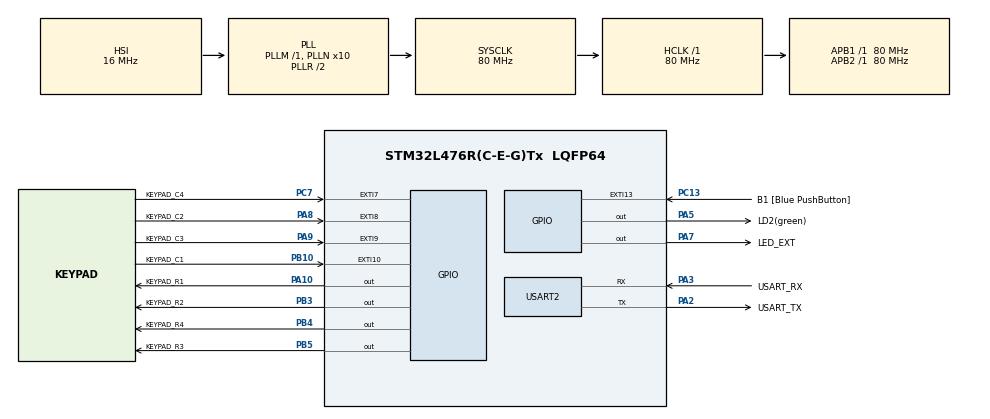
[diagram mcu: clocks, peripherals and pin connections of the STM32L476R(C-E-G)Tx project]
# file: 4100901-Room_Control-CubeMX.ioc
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Mcu.Family=STM32L4
Mcu.Name=STM32L476R(C-E-G)Tx
Mcu.Package=LQFP64
NVIC.EXTI15_10_IRQn=true\:0\:0\:false\:false\:true\:true\:true\:true
NVIC.EXTI9_5_IRQn=true\:0\:0\:false\:false\:true\:true\:true\:true
NVIC.PriorityGroup=NVIC_PRIORITYGROUP_4
NVIC.USART2_IRQn=true\:0\:0\:false\:false\:true\:true\:true\:true
PA10.GPIO_Label=KEYPAD_R1
PA10.Signal=GPIO_Output
PA13\ (JTMS-SWDIO).GPIO_Label=TMS
PA13\ (JTMS-SWDIO).Mode=Serial_Wire
PA13\ (JTMS-SWDIO).Signal=SYS_JTMS-SWDIO
PA14\ (JTCK-SWCLK).GPIO_Label=TCK
PA14\ (JTCK-SWCLK).Mode=Serial_Wire
PA14\ (JTCK-SWCLK).Signal=SYS_JTCK-SWCLK
PA2.GPIO_Label=USART_TX
PA2.GPIO_Mode=GPIO_MODE_AF_PP
PA2.GPIO_PuPd=GPIO_NOPULL
PA2.GPIO_Speed=GPIO_SPEED_FREQ_VERY_HIGH
PA2.Mode=Asynchronous
PA2.Signal=USART2_TX
PA3.GPIO_Label=USART_RX
PA3.GPIO_Mode=GPIO_MODE_AF_PP
PA3.GPIO_PuPd=GPIO_NOPULL
PA3.GPIO_Speed=GPIO_SPEED_FREQ_VERY_HIGH
PA3.Mode=Asynchronous
PA3.Signal=USART2_RX
PA5.GPIO_Label=LD2(green)
PA5.GPIO_ModeDefaultOutputPP=GPIO_MODE_OUTPUT_PP
PA5.GPIO_PuPd=GPIO_NOPULL
PA5.GPIO_Speed=GPIO_SPEED_FREQ_LOW
PA5.Signal=GPIO_Output
PA7.GPIO_Label=LED_EXT
PA7.Signal=GPIO_Output
PA8.GPIO_Label=KEYPAD_C2
PA8.GPIO_PuPd=GPIO_PULLUP
PA8.Signal=GPXTI8
PA9.GPIO_Label=KEYPAD_C3
PA9.GPIO_PuPd=GPIO_PULLUP
PA9.Signal=GPXTI9
PB10.GPIO_Label=KEYPAD_C1
PB10.GPIO_PuPd=GPIO_PULLUP
PB10.Signal=GPXTI10
PB3\ (JTDO-TRACESWO).GPIO_Label=KEYPAD_R2
PB3\ (JTDO-TRACESWO).Signal=GPIO_Output
PB4\ (NJTRST).GPIO_Label=KEYPAD_R4
PB4\ (NJTRST).Signal=GPIO_Output
PB5.GPIO_Label=KEYPAD_R3
PB5.Signal=GPIO_Output
PC13.GPIO_Label=B1 [Blue PushButton]
PC13.GPIO_ModeDefaultEXTI=GPIO_MODE_IT_FALLING
PC13.GPIO_PuPd=GPIO_NOPULL
PC13.Signal=GPXTI13
PC14-OSC32_IN\ (PC14).Mode=LSE-External-Oscillator
PC14-OSC32_IN\ (PC14).Signal=RCC_OSC32_IN
PC15-OSC32_OUT\ (PC15).Mode=LSE-External-Oscillator
PC15-OSC32_OUT\ (PC15).Signal=RCC_OSC32_OUT
PC7.GPIO_Label=KEYPAD_C4
PC7.GPIO_PuPd=GPIO_PULLUP
PC7.Signal=GPXTI7
PH0-OSC_IN\ (PH0).Signal=RCC_OSC_IN
PH1-OSC_OUT\ (PH1).Signal=RCC_OSC_OUT
ProjectManager.HeapSize=0x200
ProjectManager.StackSize=0x400
ProjectManager.TargetToolchain=CMake
RCC.ADCFreq_Value=64000000
RCC.AHBFreq_Value=80000000
RCC.APB1Freq_Value=80000000
RCC.APB1TimFreq_Value=80000000
RCC.APB2Freq_Value=80000000
RCC.APB2TimFreq_Value=80000000
RCC.CortexFreq_Value=80000000
RCC.HCLKFreq_Value=80000000
RCC.HSE_VALUE=8000000
RCC.HSI_VALUE=16000000
RCC.MSI_VALUE=4000000
RCC.PLLN=10
RCC.PLLSourceVirtual=RCC_PLLSOURCE_HSI
RCC.PREFETCH_ENABLE=1
RCC.SYSCLKFreq_VALUE=80000000
RCC.SYSCLKSource=RCC_SYSCLKSOURCE_PLLCLK
RCC.USBFreq_Value=64000000
RCC.VCOOutputFreq_Value=160000000
USART2.VirtualMode-Asynchronous=VM_ASYNC
board=NUCLEO-L476RG

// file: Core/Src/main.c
/* USER CODE BEGIN Header */                         // --- Sección de encabezado reservada para el usuario (comentarios/metadatos)
/**
  ******************************************************************************
  * @file           : main.c                        // Nombre del archivo fuente principal
  * @brief          : Main program body             // Breve descripción del contenido del archivo
  ******************************************************************************
  * @attention
  *
  * Copyright (c) 2025 STMicroelectronics.          // Derechos de autor
  * All rights reserved.
  *
  * This software is licensed under terms that can be found in the LICENSE file  // Referencia a la licencia del software
  * in the root directory of this software component.
  * If no LICENSE file comes with this software, it is provided AS-IS.           // Condición en ausencia de licencia
  *
  ******************************************************************************
  */
/* USER CODE END Header */                           // --- Fin de la sección de encabezado del usuario

#include "main.h"                                     // Definiciones/prototipos generados por CubeMX (HAL, pines, handlers)

/* USER CODE BEGIN Includes */
#include "led_driver.h"                               // Driver del LED (led_handle_t y funciones)
#include "ring_buffer.h"                              // Librería del buffer circular
#include "keypad_driver.h"                            // Driver de keypad 4x4
#include <stdio.h>                                    // printf/puts (si se redirige)
#include <string.h>                                   // strncmp para comparar la clave
/* USER CODE END Includes */

/* ---------------------------------------------------------------------------
 * Resumen general (comentarios añadidos por el asistente):
 * - Este archivo contiene la inicialización de periféricos y el bucle principal
 *   de la aplicación. La lógica implementada gestiona:
 *     1) Lectura y escaneo de un teclado matricial 4x4 (keypad).
 *     2) Almacenamiento de teclas en un ring buffer y verificación de una
 *        contraseña de 4 dígitos ("2580").
 *     3) Control de dos LEDs: uno interno (LD2, PA5) y otro "door" (PA7).
 *     4) Recepción UART vía interrupciones en un ring buffer y eco en bloques.
 * - He añadido este bloque de documentación y comentarios explicativos.
 * - No se modifica la lógica existente; solo se añaden comentarios y aclaraciones
 *   para facilitar lectura y mantenimiento.
 * ---------------------------------------------------------------------------*/

/* USER CODE BEGIN PTD */
/* USER CODE END PTD */                                // No se añaden typedefs privados adicionales

/* USER CODE BEGIN PD */
/* USER CODE END PD */                                 // No se añaden #define privados

/* USER CODE BEGIN PM */
/* USER CODE END PM */                                 // No se añaden macros privadas

UART_HandleTypeDef huart2;                            // Control HAL para USART2 (config/estado)

/* USER CODE BEGIN PV */

// LEDs: LD2 (interno) y LED de puerta (externo)
led_handle_t led1 = {GPIOA, GPIO_PIN_5 };             // LD2 PA5
led_handle_t led_door = (led_handle_t){ GPIOA, GPIO_PIN_7 }; // Door LED PA7

/* UART RX: ring buffer para recepción por IRQ (eco cada 5 bytes) */
#define UART2_RX_LEN 16
uint8_t uart2_rx_buffer[UART2_RX_LEN];                 // Memoria del ring buffer UART
ring_buffer_t uart2_rx_rb;                             // Estructura del ring buffer
uint8_t uart2_rx_data;                                 // Byte temporal recibido

/* Variable que almacena el momento exacto (en milisegundos del sistema)
 * en que el LED debe apagarse.
 * Cuando se presiona el botón azul (PC13), se calcula este tiempo como:
 * tiempo_actual + 5000 ms.
 * El while principal se encargará de apagar el LED cuando se cumpla este plazo.
 */
volatile uint32_t door_led_deadline_ms = 0;            // Tiempo (ms) para apagar LED puerta; 0 = none

/* Variable para controlar el "rebote" del botón (debounce).
 * Cuando se presiona el botón, este no genera un solo pulso limpio,
 * sino varios rebotes eléctricos. Para evitar falsos disparos,
 * se registra el último tiempo en el que se presionó.
 * Si se vuelve a presionar antes de 150 ms, se ignora.
 */
// Anti-rebote y control de parpadeo
volatile uint32_t last_button_ms = 0;                  // Tiempo del último pulso (ms)
volatile uint8_t led1_suppress_toggle = 0;             // 1 = suprimir toggle periódico de led1

/* ====== KEYPAD: handle y ring buffer propios ====== */
/* Mapea filas y columnas usando los alias que generó CubeMX
   (tal como en la guía del profe). Deben existir en main.h:
   KEYPAD_R1_Pin / KEYPAD_R1_GPIO_Port, ..., KEYPAD_C4_Pin / KEYPAD_C4_GPIO_Port */
keypad_handle_t keypad = {
    .row_ports = { KEYPAD_R1_GPIO_Port, KEYPAD_R2_GPIO_Port, KEYPAD_R3_GPIO_Port, KEYPAD_R4_GPIO_Port }, // Puertos filas
    .row_pins  = { KEYPAD_R1_Pin,        KEYPAD_R2_Pin,        KEYPAD_R3_Pin,        KEYPAD_R4_Pin        }, // Pines filas
    .col_ports = { KEYPAD_C1_GPIO_Port,  KEYPAD_C2_GPIO_Port,  KEYPAD_C3_GPIO_Port,  KEYPAD_C4_GPIO_Port  }, // Puertos columnas
    .col_pins  = { KEYPAD_C1_Pin,        KEYPAD_C2_Pin,        KEYPAD_C3_Pin,        KEYPAD_C4_Pin        }  // Pines columnas
};

// Ring buffer para teclas del keypad
#define KEYPAD_BUFFER_LEN 16
static uint8_t  keypad_buffer[KEYPAD_BUFFER_LEN];       // Memoria para teclas
ring_buffer_t   keypad_rb;                              // Estructura del ring buffer

// Mensaje base para enviar la tecla por UART
static uint8_t kp_msg[14] = "Tecla: ?\r\n";             // kp_msg[7] reemplaza '?'

/* ====== EXTI→main: pin pendiente del keypad ====== */
volatile uint16_t last_exti_pin = 0;                    // ISR guarda la columna que disparó (0 = none)
// last_exti_pin usado para comunicar ISR -> main loop

/* ====== PASSWORD (4 dígitos) ====== */
// Contraseña de 4 dígitos y buffer de entrada
#define PASSWORD_LEN 4
static const char PASSWORD[PASSWORD_LEN] = {'2','5','8','0'}; // Clave: 2 5 8 0
static char  input_buffer[PASSWORD_LEN];                // Buffer de ingreso
static uint8_t input_index = 0;                         // Posición actual

/* USER CODE END PV */

void SystemClock_Config(void);                           // Prototipo: configuración de reloj del sistema
static void MX_GPIO_Init(void);                          // Prototipo: configuración de GPIOs
static void MX_USART2_UART_Init(void);                   // Prototipo: configuración de USART2
/* USER CODE BEGIN PFP */
/* USER CODE END PFP */                                  // No se añaden prototipos adicionales del usuario

/* USER CODE BEGIN 0 */
/* El envío por UART se gestiona desde syscalls.c (implementación de __io_putchar),
   por tanto no es necesario redefinir _write aquí. */

/* Callback de recepción UART por interrupción:
 * - Rearma recepción de 1 byte
 * - Filtra '\r' y '\n'
 * - Escribe los demás bytes en el ring buffer UART RX
 */
void HAL_UART_RxCpltCallback(UART_HandleTypeDef *huart)  // Se llama automáticamente cuando llega 1 byte por UART
{
  if (huart->Instance == USART2) {                     // Evento de USART2
    // Rearmar recepción inmediato para no perder bytes
    HAL_UART_Receive_IT(&huart2, &uart2_rx_data, 1);

    // Filtrar retornos de carro/linefeed comunes del terminal
    if (uart2_rx_data == '\r' || uart2_rx_data == '\n') {
      return;                                      // Ignorar estos caracteres
    }

    // Encolar el byte recibido para procesarlo en el main loop
    ring_buffer_write(&uart2_rx_rb, uart2_rx_data);
  }
}

/* USER CODE END 0 */

int main(void)
{
  /* USER CODE BEGIN 1 */
  /* USER CODE END 1 */                                  // Espacio para pre-inicializaciones del usuario

  /* MCU Configuration--------------------------------------------------------*/

  /* Reset of all peripherals, Initializes the Flash interface and the Systick. */
  HAL_Init();                                            // Inicializa HAL: reset periféricos, SysTick 1ms, NVIC base

  /* USER CODE BEGIN Init */
  /* USER CODE END Init */                               // Espacio para inicializaciones del usuario tras HAL_Init()

  /* Configure the system clock */
  SystemClock_Config();                                  // Configura osciladores/PLL y relojes de buses

  /* USER CODE BEGIN SysInit */
  /* USER CODE END SysInit */                            // Espacio para inicialización de bajo nivel del usuario

  /* Initialize all configured peripherals */
  MX_GPIO_Init();                                        // Inicializa GPIOs (relojes de puertos, modos de pines)
  MX_USART2_UART_Init();                                 // Inicializa USART2 (115200-8N1)
  /* USER CODE BEGIN 2 */
  led_init(&led1);                                       // Asegura LD2 (PA5) apagado al inicio
  ring_buffer_init(&uart2_rx_rb, uart2_rx_buffer, UART2_RX_LEN); // Inicializa ring buffer de UART RX
  HAL_UART_Receive_IT(&huart2, &uart2_rx_data, 1);               // Habilita recepción por interrupciones (1 byte)
  led_init(&led_door);                                   // Apaga LED_DOOR (PA7) al inicio del programa

  /* ====== KEYPAD: inicializaciones ====== */
  ring_buffer_init(&keypad_rb, keypad_buffer, KEYPAD_BUFFER_LEN); // Ring buffer de teclas
  keypad_init(&keypad);                                           // Filas en reposo (alto); columnas ya por CubeMX

  /* Mensaje de “sistema listo” por UART2 (en vez de printf) */
  {
      const uint8_t boot_msg[] = "Sistema listo. Clave 4 digitos: 2 5 8 0\r\n"; // Mensaje de bienvenida con clave
      HAL_UART_Transmit(&huart2, (uint8_t*)boot_msg, sizeof(boot_msg)-1, HAL_MAX_DELAY);    // Enviar por UART2
  }
  /* USER CODE END 2 */

  /* Infinite loop */
  /* USER CODE BEGIN WHILE */
  while (1) {                                                          // Bucle principal: corre para siempre

    /* ====== 1) Procesar evento pendiente del keypad (fuera de la ISR) ====== */
    /* Active polling: recorrer filas, poner cada fila a LOW y leer columnas.
     * Esto detecta teclas aunque EXTI no esté funcionando. Cuando se
     * detecta una columna a LOW llamamos a keypad_scan() con el pin
     * correspondiente para reutilizar la lógica existente.
     */
    if (last_exti_pin == 0) {
      // Asegurar filas en estado reposo ALTO
      for (int r = 0; r < KEYPAD_ROWS; r++) {
        HAL_GPIO_WritePin(keypad.row_ports[r], keypad.row_pins[r], GPIO_PIN_SET);
      }

      // Probar cada fila
      for (int row = 0; row < KEYPAD_ROWS && last_exti_pin == 0; row++) {
        // Activar (LOW) solo la fila actual para detectar qué tecla está presionada
        HAL_GPIO_WritePin(keypad.row_ports[row], keypad.row_pins[row], GPIO_PIN_RESET);

        // Pequeña espera para que la línea se estabilice (debounce simple)
        HAL_Delay(5);

        // Leer columnas: si alguna lee LOW, la tecla en esta fila+col fue pulsada
        for (int c = 0; c < KEYPAD_COLS; c++) {
          if (HAL_GPIO_ReadPin(keypad.col_ports[c], keypad.col_pins[c]) == GPIO_PIN_RESET) {
            // Llamar al escaneo con el pin de columna detectado
            uint16_t detected_col_pin = keypad.col_pins[c];
            char key = keypad_scan(&keypad, detected_col_pin);
            if (key != '\0') {
              ring_buffer_write(&keypad_rb, (uint8_t)key);
            }

            // Restaurar la fila a reposo ALTO antes de continuar
            HAL_GPIO_WritePin(keypad.row_ports[row], keypad.row_pins[row], GPIO_PIN_SET);

            // Evitar lecturas repetidas: pequeña espera tras detección
            HAL_Delay(150);
            break;
          }
        }

        // Restaurar fila a ALTO antes de probar la siguiente
        HAL_GPIO_WritePin(keypad.row_ports[row], keypad.row_pins[row], GPIO_PIN_SET);
      }
    } else {
      // La ISR dejó una columna en last_exti_pin; usar el escaneo que ya existe
      char key = keypad_scan(&keypad, last_exti_pin);
      last_exti_pin = 0;                                             // Marcar atendido

      if (key != '\0') {                                            // Si keypad_scan encontró una tecla válida
          ring_buffer_write(&keypad_rb, (uint8_t)key);               // Encolar tecla
      }

      // Re-habilitar las IRQ de EXTI tras procesar el evento
      HAL_NVIC_EnableIRQ(EXTI9_5_IRQn);
      HAL_NVIC_EnableIRQ(EXTI15_10_IRQn);
    }

    /* ====== 2) Consumir teclas del keypad y verificar PASSWORD ====== */
    {
        uint8_t k;                                                     // Byte local para leer tecla
        if (ring_buffer_read(&keypad_rb, &k)) {                      // Si hay tecla pendiente
          kp_msg[7] = (uint8_t)k;                                  // Poner tecla en el mensaje
          HAL_UART_Transmit(&huart2, kp_msg, sizeof(kp_msg)-1, HAL_MAX_DELAY);

          // Guardar en buffer de entrada si no está lleno
          if (input_index < PASSWORD_LEN) {
            input_buffer[input_index++] = (char)k;
          }

          // Si completamos 4 dígitos, verificar contraseña
          if (input_index == PASSWORD_LEN) {
            if (strncmp(input_buffer, PASSWORD, PASSWORD_LEN) == 0) {
              // Clave correcta: mostrar mensaje y encender LEDs
              const uint8_t ok_msg[] = "Clave CORRECTA (2580). LED ON.\r\n";
              HAL_UART_Transmit(&huart2, (uint8_t*)ok_msg, sizeof(ok_msg)-1, HAL_MAX_DELAY);
              led1_suppress_toggle = 1;      // Suprimir parpadeo automático
              led_on(&led1);                 // Encender LED interno
              led_on(&led_door);             // Encender LED puerta
              door_led_deadline_ms = HAL_GetTick() + 5000U; // Apagar puerta en 5s
            } else {
              // Clave incorrecta: informar y parpadear ambos LEDs 3 veces
              const uint8_t bad_msg[] = "Clave INCORRECTA. LED parpadea.\r\n";
              HAL_UART_Transmit(&huart2, (uint8_t*)bad_msg, sizeof(bad_msg)-1, HAL_MAX_DELAY);
              led1_suppress_toggle = 1;      // Suspender toggle durante el parpadeo
              for (int i = 0; i < 3; i++) {
                led_on(&led1);
                led_on(&led_door);
                HAL_Delay(150);
                led_off(&led1);
                led_off(&led_door);
                HAL_Delay(150);
              }
              led1_suppress_toggle = 0;      // Reanudar toggle periódico
            }
            input_index = 0; // Reiniciar buffer de entrada para la próxima clave
          }
        }
    }

    /* ====== 3) Apagado diferido del LED_DOOR (si venció plazo de 5 s) ====== */
    if (door_led_deadline_ms != 0U) {                                  // ¿Hay un apagado programado?
        if ((int32_t)(HAL_GetTick() - door_led_deadline_ms) >= 0) {    // ¿Se cumplió el tiempo?
            led_off(&led_door);                                        // Apaga LED externo (PA7)
            door_led_deadline_ms = 0U;                                 // Limpia alarma
        }
    }

    /* (sin código de debug temporal) */

    /* ====== 4) Gestión UART: eco en bloques de 5 bytes desde su ring buffer ====== */
    if (ring_buffer_count(&uart2_rx_rb) >= 5) {                        // ¿Hay 5+ bytes acumulados?
        for (int i = 0; i < 5; i++) {                                  // Procesa exactamente 5
            if (ring_buffer_read(&uart2_rx_rb, &uart2_rx_data)) {      // Saca el más antiguo
                HAL_UART_Transmit(&huart2, &uart2_rx_data, 1, HAL_MAX_DELAY); // Lo envía por UART2
            }
        }
    }

    /* ====== 5) Tarea de fondo: parpadeo del LED interno ====== */
    if (!led1_suppress_toggle) {
      led_toggle(&led1);                                             // Cambia estado de LD2 (PA5)
    }
    HAL_Delay(500);                                                    // Espera 500 ms (parpadeo ~1 Hz)
  }
  /* USER CODE END WHILE */

}

void SystemClock_Config(void)
{
  RCC_OscInitTypeDef RCC_OscInitStruct = {0};          // Estructura: config de osciladores (HSI/PLL)
  RCC_ClkInitTypeDef RCC_ClkInitStruct = {0};          // Estructura: config de buses (HCLK, PCLK)

  /** Configure the main internal regulator output voltage */
  if (HAL_PWREx_ControlVoltageScaling(PWR_REGULATOR_VOLTAGE_SCALE1) != HAL_OK) { // Escala de voltaje para la frecuencia objetivo
    Error_Handler();                                     // Manejo de error
  }

  /** Initializes the RCC Oscillators according to the specified parameters */
  RCC_OscInitStruct.OscillatorType = RCC_OSCILLATORTYPE_HSI; // Fuente principal: HSI
  RCC_OscInitStruct.HSIState = RCC_HSI_ON;                  // Enciende HSI
  RCC_OscInitStruct.HSICalibrationValue = RCC_HSICALIBRATION_DEFAULT; // Calibración por defecto
  RCC_OscInitStruct.PLL.PLLState = RCC_PLL_ON;              // Habilita PLL
  RCC_OscInitStruct.PLL.PLLSource = RCC_PLLSOURCE_HSI;      // PLL toma HSI como fuente
  RCC_OscInitStruct.PLL.PLLM = 1;                           // Predivisor M
  RCC_OscInitStruct.PLL.PLLN = 10;                          // Multiplicador N
  RCC_OscInitStruct.PLL.PLLP = RCC_PLLP_DIV7;               // Postdivisor P
  RCC_OscInitStruct.PLL.PLLQ = RCC_PLLQ_DIV2;               // Postdivisor Q
  RCC_OscInitStruct.PLL.PLLR = RCC_PLLR_DIV2;               // Postdivisor R (SYSCLK)
  if (HAL_RCC_OscConfig(&RCC_OscInitStruct) != HAL_OK) {    // Aplica configuración de osciladores
    Error_Handler();                                        // Manejo de error
  }

  /** Initializes the CPU, AHB and APB buses clocks */
  RCC_ClkInitStruct.ClockType = RCC_CLOCKTYPE_HCLK
                              | RCC_CLOCKTYPE_SYSCLK
                              | RCC_CLOCKTYPE_PCLK1
                              | RCC_CLOCKTYPE_PCLK2;        // Selección de relojes a configurar
  RCC_ClkInitStruct.SYSCLKSource = RCC_SYSCLKSOURCE_PLLCLK; // SYSCLK desde PLL
  RCC_ClkInitStruct.AHBCLKDivider = RCC_SYSCLK_DIV1;        // HCLK = SYSCLK
  RCC_ClkInitStruct.APB1CLKDivider = RCC_HCLK_DIV1;         // PCLK1 = HCLK
  RCC_ClkInitStruct.APB2CLKDivider = RCC_HCLK_DIV1;         // PCLK2 = HCLK

  if (HAL_RCC_ClockConfig(&RCC_ClkInitStruct, FLASH_LATENCY_4) != HAL_OK) { // Aplica árboles de reloj/latencia de Flash
    Error_Handler();                                        // Manejo de error
  }
}

static void MX_USART2_UART_Init(void)
{

  huart2.Instance = USART2;                         // Selecciona periferico USART2
  huart2.Init.BaudRate = 115200;                    // 115200 baudios
  huart2.Init.WordLength = UART_WORDLENGTH_8B;      // 8 bits de dato
  huart2.Init.StopBits = UART_STOPBITS_1;           // 1 bit de parada
  huart2.Init.Parity = UART_PARITY_NONE;            // Sin paridad
  huart2.Init.Mode = UART_MODE_TX_RX;               // TX y RX habilitados
  huart2.Init.HwFlowCtl = UART_HWCONTROL_NONE;      // Sin control de flujo HW
  huart2.Init.OverSampling = UART_OVERSAMPLING_16;  // Oversampling x16
  huart2.Init.OneBitSampling = UART_ONE_BIT_SAMPLE_DISABLE; // Deshabilita muestreo a 1 bit
  huart2.AdvancedInit.AdvFeatureInit = UART_ADVFEATURE_NO_INIT; // Sin features avanzados
  if (HAL_UART_Init(&huart2) != HAL_OK) {           // Aplica la configuración
    Error_Handler();                                // Manejo de error
  }
}

static void MX_GPIO_Init(void)
{
  GPIO_InitTypeDef GPIO_InitStruct = {0};           // Estructura temporal para configurar pines
  /* USER CODE BEGIN MX_GPIO_Init_1 */
  /* USER CODE END MX_GPIO_Init_1 */                // Punto de inserción inicial (no usado)

  /* GPIO Ports Clock Enable */
  __HAL_RCC_GPIOC_CLK_ENABLE();                     // Clock para GPIOC
  __HAL_RCC_GPIOH_CLK_ENABLE();                     // Clock para GPIOH
  __HAL_RCC_GPIOA_CLK_ENABLE();                     // Clock para GPIOA
  __HAL_RCC_GPIOB_CLK_ENABLE();                     // Clock para GPIOB

  /*Configure GPIO pin Output Level */
  HAL_GPIO_WritePin(GPIOA, LD2_Pin|LED_EXT_Pin, GPIO_PIN_RESET); // Apaga LD2 y LED_EXT al inicio

  /*Configure GPIO pin : B1_Pin */
  GPIO_InitStruct.Pin = B1_Pin;                     // Selecciona el pin del botón de usuario (B1 = PC13)
  GPIO_InitStruct.Mode = GPIO_MODE_IT_FALLING;      // Interrupción por flanco de bajada
  GPIO_InitStruct.Pull = GPIO_NOPULL;               // Sin resistencias internas (depende del hardware del botón)
  HAL_GPIO_Init(B1_GPIO_Port, &GPIO_InitStruct);    // Aplica la configuración al puerto del botón

  /*Configure GPIO pins : LD2_Pin LED_EXT_Pin */
  GPIO_InitStruct.Pin = LD2_Pin|LED_EXT_Pin;        // Selecciona pines del LED interno y LED externo
  GPIO_InitStruct.Mode = GPIO_MODE_OUTPUT_PP;       // Salida push-pull (conduce a Vcc o GND)
  GPIO_InitStruct.Pull = GPIO_NOPULL;               // Sin resistencias internas
  GPIO_InitStruct.Speed = GPIO_SPEED_FREQ_LOW;      // Velocidad baja (menos ruido/consumo)
  HAL_GPIO_Init(GPIOA, &GPIO_InitStruct);           // Aplica configuraciones en puerto A

  /* EXTI interrupt init*/
  HAL_NVIC_SetPriority(EXTI15_10_IRQn, 0, 0);       // Prioridad NVIC para líneas EXTI 10..15
  HAL_NVIC_EnableIRQ(EXTI15_10_IRQn);               // Habilita la interrupción EXTI correspondiente

  /* USER CODE BEGIN MX_GPIO_Init_2 */
  /* ========= KEYPAD 4x4 =========
   * Filas (R1..R4): salidas push-pull en ALTO (reposo)
   * Columnas (C1..C4): entradas con PULL-UP + EXTI por flanco de bajada
   *
   * Pines según tus defines en main.h:
   *   R1 = PA10, R2 = PB3, R3 = PB5, R4 = PB4
   *   C1 = PB10 (EXTI15_10), C2 = PA8 (EXTI9_5), C3 = PA9 (EXTI9_5), C4 = PC7 (EXTI9_5)
   */

  GPIO_InitTypeDef GPIO_InitStructK = {0};          // Estructura específica para el bloque de keypad

  /* --- FILAS: salida push-pull, sin pull, nivel ALTO inicial --- */
  GPIO_InitStructK.Mode  = GPIO_MODE_OUTPUT_PP;     // Salida push-pull
  GPIO_InitStructK.Pull  = GPIO_NOPULL;             // Sin resistencias internas en salida
  GPIO_InitStructK.Speed = GPIO_SPEED_FREQ_LOW;     // Velocidad baja suficiente

  // R1 = PA10
  GPIO_InitStructK.Pin = KEYPAD_R1_Pin;             // Selecciona pin de fila R1
  HAL_GPIO_Init(KEYPAD_R1_GPIO_Port, &GPIO_InitStructK);                  // Configura como salida
  HAL_GPIO_WritePin(KEYPAD_R1_GPIO_Port, KEYPAD_R1_Pin, GPIO_PIN_SET);    // Reposo en ALTO

  // R2 = PB3
  GPIO_InitStructK.Pin = KEYPAD_R2_Pin;             // Selecciona pin de fila R2
  HAL_GPIO_Init(KEYPAD_R2_GPIO_Port, &GPIO_InitStructK);                  // Configura como salida
  HAL_GPIO_WritePin(KEYPAD_R2_GPIO_Port, KEYPAD_R2_Pin, GPIO_PIN_SET);    // Reposo en ALTO

  // R3 = PB5
  GPIO_InitStructK.Pin = KEYPAD_R3_Pin;             // Selecciona pin de fila R3
  HAL_GPIO_Init(KEYPAD_R3_GPIO_Port, &GPIO_InitStructK);                  // Configura como salida
  HAL_GPIO_WritePin(KEYPAD_R3_GPIO_Port, KEYPAD_R3_Pin, GPIO_PIN_SET);    // Reposo en ALTO

  // R4 = PB4
  GPIO_InitStructK.Pin = KEYPAD_R4_Pin;             // Selecciona pin de fila R4
  HAL_GPIO_Init(KEYPAD_R4_GPIO_Port, &GPIO_InitStructK);                  // Configura como salida
  HAL_GPIO_WritePin(KEYPAD_R4_GPIO_Port, KEYPAD_R4_Pin, GPIO_PIN_SET);    // Reposo en ALTO

  /* --- COLUMNAS: entrada con PULL-UP + EXTI FALLING --- */
  GPIO_InitStructK.Mode = GPIO_MODE_IT_FALLING;     // Interrupción por flanco de bajada
  GPIO_InitStructK.Pull = GPIO_PULLUP;              // Pull-up interno (línea en ALTO en reposo)

  // C1 = PB10 (usa EXTI15_10 ya habilitado arriba)
  GPIO_InitStructK.Pin = KEYPAD_C1_Pin;             // Selecciona pin de columna C1
  HAL_GPIO_Init(KEYPAD_C1_GPIO_Port, &GPIO_InitStructK);                  // Configura como entrada/EXTI

  // C2 = PA8  (usa EXTI9_5)
  GPIO_InitStructK.Pin = KEYPAD_C2_Pin;             // Selecciona pin de columna C2
  HAL_GPIO_Init(KEYPAD_C2_GPIO_Port, &GPIO_InitStructK);                  // Configura como entrada/EXTI

  // C3 = PA9  (usa EXTI9_5)
  GPIO_InitStructK.Pin = KEYPAD_C3_Pin;             // Selecciona pin de columna C3
  HAL_GPIO_Init(KEYPAD_C3_GPIO_Port, &GPIO_InitStructK);                  // Configura como entrada/EXTI

  // C4 = PC7  (usa EXTI9_5)
  GPIO_InitStructK.Pin = KEYPAD_C4_Pin;             // Selecciona pin de columna C4
  HAL_GPIO_Init(KEYPAD_C4_GPIO_Port, &GPIO_InitStructK);                  // Configura como entrada/EXTI

  /* --- NVIC para las líneas EXTI usadas por las columnas de 5..9 --- */
  HAL_NVIC_SetPriority(EXTI9_5_IRQn, 1, 0);         // Prioridad para EXTI líneas 5..9 (PA8, PA9, PC7)
  HAL_NVIC_EnableIRQ(EXTI9_5_IRQn);                 // Habilita IRQ EXTI9_5

  /* USER CODE END MX_GPIO_Init_2 */
}

/* USER CODE BEGIN 4 */

/* Callback de líneas EXTI:
 * - Si el pin coincide con B1_Pin (PC13), enciende LED_DOOR y programa apagado (5s) con anti-rebote.
 * - Si el pin coincide con alguna columna del keypad, **NO** escanea aquí: solo guarda el pin y deshabilita EXTI.
 *   El escaneo real se hace en el while() principal, y luego se vuelven a habilitar las IRQs.
 */
void HAL_GPIO_EXTI_Callback(uint16_t GPIO_Pin)
{
    if (GPIO_Pin == B1_Pin) {                        // ¿Interrupción del botón azul (PC13)?
        uint32_t now = HAL_GetTick();                // Lee el tiempo actual del sistema (ms desde el arranque)

        if ((now - last_button_ms) < 150U) {         // Anti-rebote: 150 ms entre pulsos válidos
            return;                                  // Ignora rebote
        }
        last_button_ms = now;                        // Marca este pulso como válido
        led_on(&led_door);                           // Enciende LED externo (PA7)
        door_led_deadline_ms = now + 5000U;          // Agenda apagado en 5 segundos (no bloqueante)
        return;                                      // Termina aquí para el botón
    }

    /* Columnas del keypad: registrar y deshabilitar IRQs hasta que el main() procese */
    if ( (GPIO_Pin == KEYPAD_C1_Pin) ||
         (GPIO_Pin == KEYPAD_C2_Pin) ||
         (GPIO_Pin == KEYPAD_C3_Pin) ||
         (GPIO_Pin == KEYPAD_C4_Pin) ) {

      last_exti_pin = GPIO_Pin;                    // Guarda qué pin (columna) disparó

      HAL_NVIC_DisableIRQ(EXTI9_5_IRQn);           // Evita reentradas de 5..9 durante el procesamiento
      HAL_NVIC_DisableIRQ(EXTI15_10_IRQn);         // Evita reentradas de 15..10 durante el procesamiento
      return;                                      // El escaneo lo hace el while()
    }

    /* Si no es B1 ni columnas del keypad, no hacemos nada aquí */
}

/* USER CODE END 4 */

void Error_Handler(void)
{
  /* USER CODE BEGIN Error_Handler_Debug */
  /* User can add his own implementation to report the HAL error return state */ // Comentario: el usuario puede añadir reportes por UART, LED, etc.
  __disable_irq();                                   // Deshabilita interrupciones globales para evitar comportamientos erráticos
  while (1) {                                        // Bucle infinito: detiene el flujo normal para depurar
  }
  /* USER CODE END Error_Handler_Debug */
}

#ifdef USE_FULL_ASSERT
/**
  * @brief  Reports the name of the source file and the source line number       // Reporte para asserts fallidos (solo si USE_FULL_ASSERT)
  *         where the assert_param error has occurred.
  * @param  file: pointer to the source file name                                // Puntero a la cadena con nombre de archivo
  * @param  line: assert_param error line source number                           // Número de línea donde ocurrió el fallo
  * @retval None
  */
void assert_failed(uint8_t *file, uint32_t line)
{
  /* USER CODE BEGIN 6 */
  /* User can add his own implementation to report the file name and line number,
     ex: printf("Wrong parameters value: file %s on line %d\r\n", file, line) */ // Aquí se podría imprimir por UART para diagnóstico
  /* USER CODE END 6 */
}
#endif /* USE_FULL_ASSERT */                        // Fin del bloque condicional de assert
